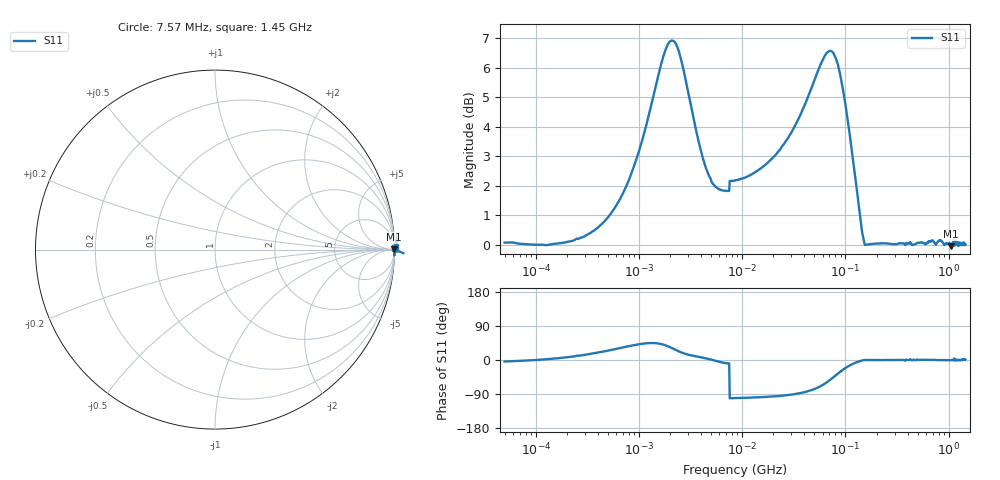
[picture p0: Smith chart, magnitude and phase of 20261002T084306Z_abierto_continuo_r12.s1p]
! piloto_saltos / abierto_continuo / r12
# HZ S RI R 50
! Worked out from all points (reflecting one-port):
!   501 points, 50 kHz to 1.45 GHz, reference 50 ohm
!   lowest |S11| = 0.0 dB at 1.058 GHz (marker M1), VSWR 405.14, Z = 1.93e+04 + j4.26e+03 ohm
!   phase of S11 starts at -4 deg and turns +5 deg over the sweep
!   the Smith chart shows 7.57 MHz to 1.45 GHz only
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50000  1.007 -0.0702
183000  1.003 0.1047
363500  1.007 0.3163
658000  1.019 0.6267
1180000  1.147 1.11
1630000  1.49 1.355
1990000  1.83 1.237
2440000  1.961 0.8159
3340000  1.619 0.3195
4690000  1.316 0.0674
7300000  1.219 -0.1928
7750000  -0.2421 -1.26
8560000  -0.2352 -1.264
1.81e7  -0.1683 -1.373
3.16e7  -0.0113 -1.576
4.69e7  0.3385 -1.813
5.68e7  0.697 -1.886
6.49e7  1.046 -1.828
7.39e7  1.399 -1.598
8.65e7  1.65 -1.098
9.82e7  1.627 -0.6737
1e8  1.61 -0.6203
1.18e8  1.376 -0.2436
1.36e8  1.148 -0.0697
1.63e8  1.002 -0.000432
4.06e8  1.005 0.00165
1.0585e9  0.9951 0.00108
1.45e9  1.002 0.0108
